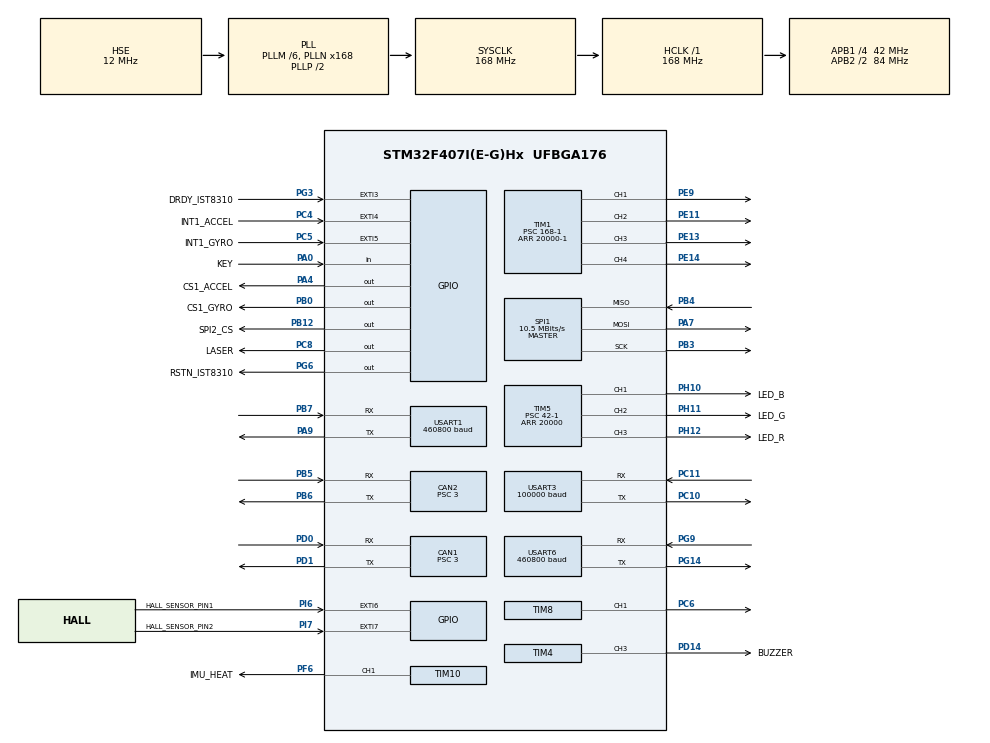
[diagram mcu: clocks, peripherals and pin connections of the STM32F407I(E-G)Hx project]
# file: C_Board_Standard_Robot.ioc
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CAN1.BS1=CAN_BS1_10TQ
CAN1.BS2=CAN_BS2_3TQ
CAN1.CalculateTimeQuantum=71.42857142857143
CAN1.Prescaler=3
CAN2.BS1=CAN_BS1_10TQ
CAN2.BS2=CAN_BS2_3TQ
CAN2.CalculateTimeQuantum=71.42857142857143
CAN2.Prescaler=3
Dma.Request0=SPI1_RX
Dma.Request1=SPI1_TX
Dma.Request2=USART3_RX
Dma.Request3=USART6_TX
Dma.Request4=USART1_TX
Dma.Request5=USART1_RX
Dma.Request6=USART6_RX
Dma.SPI1_RX.0.Direction=DMA_PERIPH_TO_MEMORY
Dma.SPI1_RX.0.FIFOMode=DMA_FIFOMODE_DISABLE
Dma.SPI1_RX.0.Instance=DMA2_Stream2
Dma.SPI1_RX.0.MemDataAlignment=DMA_MDATAALIGN_BYTE
Dma.SPI1_RX.0.MemInc=DMA_MINC_ENABLE
Dma.SPI1_RX.0.Mode=DMA_NORMAL
Dma.SPI1_RX.0.PeriphDataAlignment=DMA_PDATAALIGN_BYTE
Dma.SPI1_RX.0.PeriphInc=DMA_PINC_DISABLE
Dma.SPI1_RX.0.Priority=DMA_PRIORITY_VERY_HIGH
Dma.SPI1_TX.1.Direction=DMA_MEMORY_TO_PERIPH
Dma.SPI1_TX.1.FIFOMode=DMA_FIFOMODE_DISABLE
Dma.SPI1_TX.1.Instance=DMA2_Stream3
Dma.SPI1_TX.1.MemDataAlignment=DMA_MDATAALIGN_BYTE
Dma.SPI1_TX.1.MemInc=DMA_MINC_ENABLE
Dma.SPI1_TX.1.Mode=DMA_NORMAL
Dma.SPI1_TX.1.PeriphDataAlignment=DMA_PDATAALIGN_BYTE
Dma.SPI1_TX.1.PeriphInc=DMA_PINC_DISABLE
Dma.SPI1_TX.1.Priority=DMA_PRIORITY_HIGH
Dma.USART1_RX.5.Direction=DMA_PERIPH_TO_MEMORY
Dma.USART1_RX.5.FIFOMode=DMA_FIFOMODE_DISABLE
Dma.USART1_RX.5.Instance=DMA2_Stream5
Dma.USART1_RX.5.MemDataAlignment=DMA_MDATAALIGN_BYTE
Dma.USART1_RX.5.MemInc=DMA_MINC_ENABLE
Dma.USART1_RX.5.Mode=DMA_CIRCULAR
Dma.USART1_RX.5.PeriphDataAlignment=DMA_PDATAALIGN_BYTE
Dma.USART1_RX.5.PeriphInc=DMA_PINC_DISABLE
Dma.USART1_RX.5.Priority=DMA_PRIORITY_LOW
Dma.USART1_TX.4.Direction=DMA_MEMORY_TO_PERIPH
Dma.USART1_TX.4.FIFOMode=DMA_FIFOMODE_DISABLE
Dma.USART1_TX.4.Instance=DMA2_Stream7
Dma.USART1_TX.4.MemDataAlignment=DMA_MDATAALIGN_BYTE
Dma.USART1_TX.4.MemInc=DMA_MINC_ENABLE
Dma.USART1_TX.4.Mode=DMA_NORMAL
Dma.USART1_TX.4.PeriphDataAlignment=DMA_PDATAALIGN_BYTE
Dma.USART1_TX.4.PeriphInc=DMA_PINC_DISABLE
Dma.USART1_TX.4.Priority=DMA_PRIORITY_MEDIUM
Dma.USART3_RX.2.Direction=DMA_PERIPH_TO_MEMORY
Dma.USART3_RX.2.FIFOMode=DMA_FIFOMODE_DISABLE
Dma.USART3_RX.2.Instance=DMA1_Stream1
Dma.USART3_RX.2.MemDataAlignment=DMA_MDATAALIGN_BYTE
Dma.USART3_RX.2.MemInc=DMA_MINC_ENABLE
Dma.USART3_RX.2.Mode=DMA_CIRCULAR
Dma.USART3_RX.2.PeriphDataAlignment=DMA_PDATAALIGN_BYTE
Dma.USART3_RX.2.PeriphInc=DMA_PINC_DISABLE
Dma.USART3_RX.2.Priority=DMA_PRIORITY_HIGH
Dma.USART6_RX.6.Direction=DMA_PERIPH_TO_MEMORY
Dma.USART6_RX.6.FIFOMode=DMA_FIFOMODE_DISABLE
Dma.USART6_RX.6.Instance=DMA2_Stream1
Dma.USART6_RX.6.MemDataAlignment=DMA_MDATAALIGN_BYTE
Dma.USART6_RX.6.MemInc=DMA_MINC_ENABLE
Dma.USART6_RX.6.Mode=DMA_CIRCULAR
Dma.USART6_RX.6.PeriphDataAlignment=DMA_PDATAALIGN_BYTE
Dma.USART6_RX.6.PeriphInc=DMA_PINC_DISABLE
Dma.USART6_RX.6.Priority=DMA_PRIORITY_LOW
Dma.USART6_TX.3.Direction=DMA_MEMORY_TO_PERIPH
Dma.USART6_TX.3.FIFOMode=DMA_FIFOMODE_DISABLE
Dma.USART6_TX.3.Instance=DMA2_Stream6
Dma.USART6_TX.3.MemDataAlignment=DMA_MDATAALIGN_BYTE
Dma.USART6_TX.3.MemInc=DMA_MINC_ENABLE
Dma.USART6_TX.3.Mode=DMA_NORMAL
Dma.USART6_TX.3.PeriphDataAlignment=DMA_PDATAALIGN_BYTE
Dma.USART6_TX.3.PeriphInc=DMA_PINC_DISABLE
Dma.USART6_TX.3.Priority=DMA_PRIORITY_MEDIUM
FREERTOS.INCLUDE_eTaskGetState=1
FREERTOS.INCLUDE_pcTaskGetTaskName=1
FREERTOS.INCLUDE_uxTaskGetStackHighWaterMark=1
FREERTOS.INCLUDE_vTaskCleanUpResources=1
FREERTOS.INCLUDE_vTaskDelayUntil=1
FREERTOS.INCLUDE_xEventGroupSetBitFromISR=1
FREERTOS.INCLUDE_xQueueGetMutexHolder=1
FREERTOS.INCLUDE_xSemaphoreGetMutexHolder=1
FREERTOS.INCLUDE_xTaskAbortDelay=1
FREERTOS.INCLUDE_xTaskGetCurrentTaskHandle=1
FREERTOS.INCLUDE_xTaskGetHandle=1
FREERTOS.INCLUDE_xTimerPendFunctionCall=1
FREERTOS.Tasks01=GimbalTask,2,1024,StartGimbalTask,Default,NULL,Dynamic,NULL,NULL;INSTask,1,1024,StartINSTask,Default,NULL,Dynamic,NULL,NULL;DetectTask,-1,256,StartDetectTask,Default,NULL,Dynamic,NULL,NULL;ShootTask,0,512,StartShootTask,Default,NULL,Dynamic,NULL,NULL;AimAssist,1,1528,StartAimAssist,Default,NULL,Dynamic,NULL,NULL;ChassisTask,0,256,StartChassisTask,Default,NULL,Dynamic,NULL,NULL
FREERTOS.configTOTAL_HEAP_SIZE=24576
Mcu.Family=STM32F4
Mcu.Name=STM32F407I(E-G)Hx
Mcu.Package=UFBGA176
NVIC.CAN1_RX0_IRQn=true\:6\:0\:true\:false\:true\:true\:true\:true
NVIC.CAN2_RX0_IRQn=true\:6\:0\:true\:false\:true\:true\:true\:true
NVIC.DMA1_Stream1_IRQn=true\:5\:0\:true\:false\:false\:true\:false\:false
NVIC.DMA2_Stream1_IRQn=true\:0\:0\:false\:false\:true\:true\:false\:true
NVIC.DMA2_Stream2_IRQn=true\:5\:0\:true\:false\:false\:true\:false\:true
NVIC.DMA2_Stream3_IRQn=true\:5\:0\:true\:false\:false\:true\:false\:true
NVIC.DMA2_Stream5_IRQn=true\:0\:0\:false\:false\:true\:true\:false\:true
NVIC.DMA2_Stream6_IRQn=true\:5\:0\:true\:false\:true\:true\:false\:true
NVIC.DMA2_Stream7_IRQn=true\:5\:0\:true\:false\:true\:true\:false\:true
NVIC.EXTI3_IRQn=true\:5\:0\:true\:false\:true\:true\:true\:true
NVIC.EXTI4_IRQn=true\:5\:0\:true\:false\:true\:true\:true\:true
NVIC.EXTI9_5_IRQn=true\:5\:0\:true\:false\:true\:true\:true\:true
NVIC.PriorityGroup=NVIC_PRIORITYGROUP_4
NVIC.TIM2_IRQn=true\:0\:0\:false\:false\:true\:false\:false\:true
NVIC.TimeBase=TIM2_IRQn
NVIC.TimeBaseIP=TIM2
NVIC.USART1_IRQn=true\:0\:0\:false\:false\:true\:false\:true\:true
NVIC.USART3_IRQn=true\:4\:0\:true\:false\:true\:false\:true\:true
NVIC.USART6_IRQn=true\:5\:0\:true\:false\:true\:true\:true\:true
PA0-WKUP.GPIO_Label=KEY
PA0-WKUP.GPIO_PuPd=GPIO_PULLUP
PA0-WKUP.Signal=GPIO_Input
PA13.Mode=Serial_Wire
PA13.Signal=SYS_JTMS-SWDIO
PA14.Mode=Serial_Wire
PA14.Signal=SYS_JTCK-SWCLK
PA4.GPIO_Label=CS1_ACCEL
PA4.GPIO_PuPd=GPIO_PULLUP
PA4.GPIO_Speed=GPIO_SPEED_FREQ_HIGH
PA4.PinState=GPIO_PIN_SET
PA4.Signal=GPIO_Output
PA7.GPIO_PuPd=GPIO_PULLUP
PA7.Mode=Full_Duplex_Master
PA7.Signal=SPI1_MOSI
PA8.Signal=I2C3_SCL
PA9.Mode=Asynchronous
PA9.Signal=USART1_TX
PB0.GPIO_Label=CS1_GYRO
PB0.GPIO_PuPd=GPIO_PULLUP
PB0.GPIO_Speed=GPIO_SPEED_FREQ_HIGH
PB0.PinState=GPIO_PIN_SET
PB0.Signal=GPIO_Output
PB12.GPIO_Label=SPI2_CS
PB12.GPIO_PuPd=GPIO_PULLUP
PB12.GPIO_Speed=GPIO_SPEED_FREQ_MEDIUM
PB12.PinState=GPIO_PIN_SET
PB12.Signal=GPIO_Output
PB13.GPIO_PuPd=GPIO_PULLUP
PB13.Signal=SPI2_SCK
PB14.GPIO_PuPd=GPIO_PULLUP
PB14.Signal=SPI2_MISO
PB15.GPIO_PuPd=GPIO_PULLUP
PB15.Signal=SPI2_MOSI
PB3.GPIO_PuPd=GPIO_PULLUP
PB3.Mode=Full_Duplex_Master
PB3.Signal=SPI1_SCK
PB4.GPIO_PuPd=GPIO_PULLUP
PB4.Mode=Full_Duplex_Master
PB4.Signal=SPI1_MISO
PB5.Mode=Slave
PB5.Signal=CAN2_RX
PB6.Mode=Slave
PB6.Signal=CAN2_TX
PB7.Mode=Asynchronous
PB7.Signal=USART1_RX
PB8.Signal=I2C1_SCL
PB9.Signal=I2C1_SDA
PC10.Mode=Asynchronous
PC10.Signal=USART3_TX
PC11.Mode=Asynchronous
PC11.Signal=USART3_RX
PC4.GPIO_Label=INT1_ACCEL
PC4.GPIO_ModeDefaultEXTI=GPIO_MODE_IT_FALLING
PC4.GPIO_PuPd=GPIO_PULLUP
PC4.Signal=GPXTI4
PC5.GPIO_Label=INT1_GYRO
PC5.GPIO_ModeDefaultEXTI=GPIO_MODE_IT_FALLING
PC5.GPIO_PuPd=GPIO_PULLUP
PC5.Signal=GPXTI5
PC6.GPIO_PuPd=GPIO_PULLUP
PC6.GPIO_Speed=GPIO_SPEED_FREQ_HIGH
PC6.Signal=S_TIM8_CH1
PC8.GPIO_Label=LASER
PC8.Signal=GPIO_Output
PC9.Signal=I2C3_SDA
PD0.Mode=Master
PD0.Signal=CAN1_RX
PD1.Mode=Master
PD1.Signal=CAN1_TX
PD14.GPIO_Label=BUZZER
PD14.GPIO_PuPd=GPIO_PULLUP
PD14.GPIO_Speed=GPIO_SPEED_FREQ_VERY_HIGH
PD14.Signal=S_TIM4_CH3
PE11.GPIO_PuPd=GPIO_PULLUP
PE11.GPIO_Speed=GPIO_SPEED_FREQ_HIGH
PE11.Signal=S_TIM1_CH2
PE13.GPIO_PuPd=GPIO_PULLUP
PE13.GPIO_Speed=GPIO_SPEED_FREQ_HIGH
PE13.Signal=S_TIM1_CH3
PE14.GPIO_PuPd=GPIO_PULLUP
PE14.GPIO_Speed=GPIO_SPEED_FREQ_HIGH
PE14.Signal=S_TIM1_CH4
PE9.GPIO_PuPd=GPIO_PULLUP
PE9.GPIO_Speed=GPIO_SPEED_FREQ_HIGH
PE9.Signal=S_TIM1_CH1
PF0.Signal=I2C2_SDA
PF1.Signal=I2C2_SCL
PF10.GPIO_Label=ADC_BAT
PF10.Signal=ADC3_IN8
PF6.GPIO_Label=IMU_HEAT
PF6.GPIO_PuPd=GPIO_PULLUP
PF6.GPIO_Speed=GPIO_SPEED_FREQ_HIGH
PF6.Signal=S_TIM10_CH1
PG14.Mode=Asynchronous
PG14.Signal=USART6_TX
PG3.GPIO_Label=DRDY_IST8310
PG3.GPIO_ModeDefaultEXTI=GPIO_MODE_IT_FALLING
PG3.GPIO_PuPd=GPIO_PULLUP
PG3.Signal=GPXTI3
PG6.GPIO_Label=RSTN_IST8310
PG6.GPIO_PuPd=GPIO_PULLUP
PG6.GPIO_Speed=GPIO_SPEED_FREQ_MEDIUM
PG6.PinState=GPIO_PIN_SET
PG6.Signal=GPIO_Output
PG9.Mode=Asynchronous
PG9.Signal=USART6_RX
PH0-OSC_IN.Mode=HSE-External-Oscillator
PH0-OSC_IN.Signal=RCC_OSC_IN
PH1-OSC_OUT.Mode=HSE-External-Oscillator
PH1-OSC_OUT.Signal=RCC_OSC_OUT
PH10.GPIO_Label=LED_B
PH10.GPIO_PuPd=GPIO_PULLUP
PH10.GPIO_Speed=GPIO_SPEED_FREQ_HIGH
PH10.Signal=S_TIM5_CH1
PH11.GPIO_Label=LED_G
PH11.GPIO_PuPd=GPIO_PULLUP
PH11.GPIO_Speed=GPIO_SPEED_FREQ_HIGH
PH11.Signal=S_TIM5_CH2
PH12.GPIO_Label=LED_R
PH12.GPIO_PuPd=GPIO_PULLUP
PH12.GPIO_Speed=GPIO_SPEED_FREQ_HIGH
PH12.Signal=S_TIM5_CH3
PI6.GPIO_Label=HALL_SENSOR_PIN1
PI6.Signal=GPXTI6
PI7.GPIO_Label=HALL_SENSOR_PIN2
PI7.Signal=GPXTI7
ProjectManager.HeapSize=0x2000
ProjectManager.StackSize=0x2000
ProjectManager.TargetToolchain=MDK-ARM V5.27
RCC.48MHZClocksFreq_Value=48000000
RCC.AHBFreq_Value=168000000
RCC.APB1CLKDivider=RCC_HCLK_DIV4
RCC.APB1Freq_Value=42000000
RCC.APB1TimFreq_Value=84000000
RCC.APB2CLKDivider=RCC_HCLK_DIV2
RCC.APB2Freq_Value=84000000
RCC.APB2TimFreq_Value=168000000
RCC.CortexFreq_Value=168000000
RCC.HCLKFreq_Value=168000000
RCC.HSE_VALUE=12000000
RCC.HSI_VALUE=16000000
RCC.LSE_VALUE=32768
RCC.PLLM=6
RCC.PLLN=168
RCC.PLLQ=7
RCC.PLLSourceVirtual=RCC_PLLSOURCE_HSE
RCC.RCC_RTC_Clock_SourceVirtual=RCC_RTCCLKSOURCE_HSE_DIV30
RCC.RCC_RTC_Clock_Source_FROM_HSE=RCC_RTCCLKSOURCE_HSE_DIV30
RCC.SYSCLKFreq_VALUE=168000000
RCC.SYSCLKSource=RCC_SYSCLKSOURCE_PLLCLK
RCC.VCOOutputFreq_Value=336000000
SH.S_TIM10_CH1.0=TIM10_CH1,PWM Generation1 CH1
SH.S_TIM1_CH1.0=TIM1_CH1,PWM Generation1 CH1
SH.S_TIM1_CH2.0=TIM1_CH2,PWM Generation2 CH2
SH.S_TIM1_CH3.0=TIM1_CH3,PWM Generation3 CH3
SH.S_TIM1_CH4.0=TIM1_CH4,PWM Generation4 CH4
SH.S_TIM4_CH3.0=TIM4_CH3,PWM Generation3 CH3
SH.S_TIM5_CH1.0=TIM5_CH1,PWM Generation1 CH1
SH.S_TIM5_CH2.0=TIM5_CH2,PWM Generation2 CH2
SH.S_TIM5_CH3.0=TIM5_CH3,PWM Generation3 CH3
SH.S_TIM8_CH1.0=TIM8_CH1,PWM Generation1 CH1
SPI1.BaudRatePrescaler=SPI_BAUDRATEPRESCALER_8
SPI1.CLKPhase=SPI_PHASE_2EDGE
SPI1.CLKPolarity=SPI_POLARITY_HIGH
SPI1.CalculateBaudRate=10.5 MBits/s
SPI1.Direction=SPI_DIRECTION_2LINES
SPI1.Mode=SPI_MODE_MASTER
SPI1.VirtualType=VM_MASTER
TIM1.Channel-PWM\ Generation1\ CH1=TIM_CHANNEL_1
TIM1.Channel-PWM\ Generation2\ CH2=TIM_CHANNEL_2
TIM1.Channel-PWM\ Generation3\ CH3=TIM_CHANNEL_3
TIM1.Channel-PWM\ Generation4\ CH4=TIM_CHANNEL_4
TIM1.Period=20000-1
TIM1.Prescaler=168-1
TIM1.Pulse-PWM\ Generation1\ CH1=1000
TIM1.Pulse-PWM\ Generation2\ CH2=1000
TIM1.Pulse-PWM\ Generation3\ CH3=1000
TIM1.Pulse-PWM\ Generation4\ CH4=1000
TIM10.Channel=TIM_CHANNEL_1
TIM10.Period=2000-1
TIM10.Prescaler=84-1
TIM3.Period=8399
TIM4.Channel-PWM\ Generation3\ CH3=TIM_CHANNEL_3
TIM4.Period=20000-1
TIM4.Prescaler=42-1
TIM5.Channel-PWM\ Generation1\ CH1=TIM_CHANNEL_1
TIM5.Channel-PWM\ Generation2\ CH2=TIM_CHANNEL_2
TIM5.Channel-PWM\ Generation3\ CH3=TIM_CHANNEL_3
TIM5.Period=20000
TIM5.Prescaler=42-1
TIM8.Channel-PWM\ Generation1\ CH1=TIM_CHANNEL_1
TIM8.Period=20000-1
TIM8.Prescaler=168-1
TIM8.Pulse-PWM\ Generation1\ CH1=1000
USART1.BaudRate=460800
USART1.VirtualMode=VM_ASYNC
USART3.BaudRate=100000
USART3.Parity=PARITY_EVEN
USART3.VirtualMode=VM_ASYNC
USART6.BaudRate=460800
USART6.VirtualMode=VM_ASYNC
VP_FREERTOS_VS_CMSIS_V1.Mode=CMSIS_V1
VP_SYS_VS_tim2.Mode=TIM2
VP_TIM10_VS_ClockSourceINT.Mode=Enable_Timer
VP_TIM1_VS_ClockSourceINT.Mode=Internal
VP_TIM3_VS_ClockSourceINT.Mode=Internal
VP_TIM4_VS_ClockSourceINT.Mode=Internal
VP_TIM5_VS_ClockSourceINT.Mode=Internal
VP_TIM8_VS_ClockSourceINT.Mode=Internal
board=custom

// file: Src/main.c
/* USER CODE BEGIN Header */
/**
 ******************************************************************************
 * @file           : main.c
 * @brief          : Main program body
 ******************************************************************************
 * @attention
 *
 * <h2><center>&copy; Copyright (c) 2021 STMicroelectronics.
 * All rights reserved.</center></h2>
 *
 * This software component is licensed by ST under Ultimate Liberty license
 * SLA0044, the "License"; You may not use this file except in compliance with
 * the License. You may obtain a copy of the License at:
 *                             www.st.com/SLA0044
 *
 ******************************************************************************
 */
/* USER CODE END Header */
#include "main.h"
#include "cmsis_os.h"
#include "can.h"
#include "dma.h"
#include "spi.h"
#include "tim.h"
#include "usart.h"
#include "gpio.h"

/* USER CODE BEGIN Includes */
#include "includes.h"
/* USER CODE END Includes */

void SystemClock_Config(void);
void MX_FREERTOS_Init(void);

int main(void)
{

  /* MCU Configuration--------------------------------------------------------*/

  /* Reset of all peripherals, Initializes the Flash interface and the Systick. */
  HAL_Init();

  /* Configure the system clock */
  SystemClock_Config();

  /* Initialize all configured peripherals */
  MX_GPIO_Init();
  MX_DMA_Init();
  MX_CAN1_Init();
  MX_CAN2_Init();
  MX_SPI1_Init();
  MX_TIM4_Init();
  MX_TIM5_Init();
  MX_USART3_UART_Init();
  MX_TIM8_Init();
  MX_TIM1_Init();
  MX_TIM3_Init();
  MX_TIM10_Init();
  MX_USART1_UART_Init();
  MX_USART6_UART_Init();
  /* USER CODE BEGIN 2 */
  DWT_Init(168);
  // HAL_IWDG_Refresh(&hiwdg);
  CAN_Device_Init();
  // Serial_Debug_Init(&huart1);
  HAL_GPIO_TogglePin(LASER_GPIO_Port, LASER_Pin);
  // init_vrefint_reciprocal();
  Remote_Control_Init(&huart3);
  while (BMI088_init(&hspi1, 0) != BMI088_NO_ERROR)
    ;
  /* USER CODE END 2 */

  /* Call init function for freertos objects (in freertos.c) */
  MX_FREERTOS_Init();
  /* Start scheduler */
  osKernelStart();

  /* We should never get here as control is now taken by the scheduler */
  /* Infinite loop */
  while (1)
  {

  }
}

void SystemClock_Config(void)
{
  RCC_OscInitTypeDef RCC_OscInitStruct = {0};
  RCC_ClkInitTypeDef RCC_ClkInitStruct = {0};

  /** Configure the main internal regulator output voltage
   */
  __HAL_RCC_PWR_CLK_ENABLE();
  __HAL_PWR_VOLTAGESCALING_CONFIG(PWR_REGULATOR_VOLTAGE_SCALE1);
  /** Initializes the RCC Oscillators according to the specified parameters
   * in the RCC_OscInitTypeDef structure.
   */
  RCC_OscInitStruct.OscillatorType = RCC_OSCILLATORTYPE_HSE;
  RCC_OscInitStruct.HSEState = RCC_HSE_ON;
  RCC_OscInitStruct.PLL.PLLState = RCC_PLL_ON;
  RCC_OscInitStruct.PLL.PLLSource = RCC_PLLSOURCE_HSE;
  RCC_OscInitStruct.PLL.PLLM = 6;
  RCC_OscInitStruct.PLL.PLLN = 168;
  RCC_OscInitStruct.PLL.PLLP = RCC_PLLP_DIV2;
  RCC_OscInitStruct.PLL.PLLQ = 7;
  if (HAL_RCC_OscConfig(&RCC_OscInitStruct) != HAL_OK)
  {
    Error_Handler();
  }
  /** Initializes the CPU, AHB and APB buses clocks
   */
  RCC_ClkInitStruct.ClockType = RCC_CLOCKTYPE_HCLK | RCC_CLOCKTYPE_SYSCLK | RCC_CLOCKTYPE_PCLK1 | RCC_CLOCKTYPE_PCLK2;
  RCC_ClkInitStruct.SYSCLKSource = RCC_SYSCLKSOURCE_PLLCLK;
  RCC_ClkInitStruct.AHBCLKDivider = RCC_SYSCLK_DIV1;
  RCC_ClkInitStruct.APB1CLKDivider = RCC_HCLK_DIV4;
  RCC_ClkInitStruct.APB2CLKDivider = RCC_HCLK_DIV2;

  if (HAL_RCC_ClockConfig(&RCC_ClkInitStruct, FLASH_LATENCY_5) != HAL_OK)
  {
    Error_Handler();
  }
}

void HAL_TIM_PeriodElapsedCallback(TIM_HandleTypeDef *htim)
{
  if (htim->Instance == TIM2)
  {
    HAL_IncTick();
  }
}

void Error_Handler(void)
{
}

/************************ (C) COPYRIGHT STMicroelectronics *****END OF FILE****/

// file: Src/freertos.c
/* USER CODE BEGIN Header */
/**
 ******************************************************************************
 * File Name          : freertos.c
 * Description        : Code for freertos applications
 ******************************************************************************
 * @attention
 *
 * <h2><center>&copy; Copyright (c) 2021 STMicroelectronics.
 * All rights reserved.</center></h2>
 *
 * This software component is licensed by ST under Ultimate Liberty license
 * SLA0044, the "License"; You may not use this file except in compliance with
 * the License. You may obtain a copy of the License at:
 *                             www.st.com/SLA0044
 *
 ******************************************************************************
 */
/* USER CODE END Header */

#include "FreeRTOS.h"
#include "task.h"
#include "main.h"
#include "cmsis_os.h"

/* USER CODE BEGIN Includes */
#include "includes.h"
/* USER CODE END Includes */

osThreadId GimbalTaskHandle;
osThreadId INSTaskHandle;
osThreadId DetectTaskHandle;
osThreadId ShootTaskHandle;
osThreadId AimAssistHandle;
osThreadId ChassisTaskHandle;

void StartGimbalTask(void const *argument);
void StartINSTask(void const *argument);
void StartDetectTask(void const *argument);
void StartShootTask(void const *argument);
void StartAimAssist(void const *argument);
void StartChassisTask(void const *argument);

void MX_FREERTOS_Init(void); /* (MISRA C 2004 rule 8.1) */

/* GetIdleTaskMemory prototype (linked to static allocation support) */
void vApplicationGetIdleTaskMemory(StaticTask_t **ppxIdleTaskTCBBuffer, StackType_t **ppxIdleTaskStackBuffer, uint32_t *pulIdleTaskStackSize);

/* GetTimerTaskMemory prototype (linked to static allocation support) */
void vApplicationGetTimerTaskMemory(StaticTask_t **ppxTimerTaskTCBBuffer, StackType_t **ppxTimerTaskStackBuffer, uint32_t *pulTimerTaskStackSize);

/* USER CODE BEGIN GET_IDLE_TASK_MEMORY */
static StaticTask_t xIdleTaskTCBBuffer;
static StackType_t xIdleStack[configMINIMAL_STACK_SIZE];

void vApplicationGetIdleTaskMemory(StaticTask_t **ppxIdleTaskTCBBuffer, StackType_t **ppxIdleTaskStackBuffer, uint32_t *pulIdleTaskStackSize)
{
  *ppxIdleTaskTCBBuffer = &xIdleTaskTCBBuffer;
  *ppxIdleTaskStackBuffer = &xIdleStack[0];
  *pulIdleTaskStackSize = configMINIMAL_STACK_SIZE;
  /* place for user code */
}
/* USER CODE END GET_IDLE_TASK_MEMORY */

/* USER CODE BEGIN GET_TIMER_TASK_MEMORY */
static StaticTask_t xTimerTaskTCBBuffer;
static StackType_t xTimerStack[configTIMER_TASK_STACK_DEPTH];

void vApplicationGetTimerTaskMemory(StaticTask_t **ppxTimerTaskTCBBuffer, StackType_t **ppxTimerTaskStackBuffer, uint32_t *pulTimerTaskStackSize)
{
  *ppxTimerTaskTCBBuffer = &xTimerTaskTCBBuffer;
  *ppxTimerTaskStackBuffer = &xTimerStack[0];
  *pulTimerTaskStackSize = configTIMER_TASK_STACK_DEPTH;
  /* place for user code */
}
/* USER CODE END GET_TIMER_TASK_MEMORY */

void MX_FREERTOS_Init(void)
{

  /* Create the thread(s) */
  /* definition and creation of GimbalTask */
  osThreadDef(GimbalTask, StartGimbalTask, osPriorityHigh, 0, 1024);
  GimbalTaskHandle = osThreadCreate(osThread(GimbalTask), NULL);

  /* definition and creation of INSTask */
  osThreadDef(INSTask, StartINSTask, osPriorityAboveNormal, 0, 1024);
  INSTaskHandle = osThreadCreate(osThread(INSTask), NULL);

  /* definition and creation of DetectTask */
  osThreadDef(DetectTask, StartDetectTask, osPriorityBelowNormal, 0, 256);
  DetectTaskHandle = osThreadCreate(osThread(DetectTask), NULL);

  /* definition and creation of ShootTask */
  osThreadDef(ShootTask, StartShootTask, osPriorityNormal, 0, 512);
  ShootTaskHandle = osThreadCreate(osThread(ShootTask), NULL);

  /* definition and creation of AimAssist */
  osThreadDef(AimAssist, StartAimAssist, osPriorityAboveNormal, 0, 1528);
  AimAssistHandle = osThreadCreate(osThread(AimAssist), NULL);

  /* definition and creation of ChassisTask */
  osThreadDef(ChassisTask, StartChassisTask, osPriorityNormal, 0, 256);
  ChassisTaskHandle = osThreadCreate(osThread(ChassisTask), NULL);

}

void StartGimbalTask(void const *argument)
{
  /* USER CODE BEGIN StartGimbalTask */
  static uint32_t count = 0;
  Gimbal_Init();
  osDelay(100);
  /* Infinite loop */
  for (;;)
  {
    if (RC_Update)
    {
      if (resetCount < 2000 && !((remote_control.key_code & Key_R) && (remote_control.key_code & Key_E)))
      {
        Send_RC_Data(&hcan1, RC_Data_Buffer);
        // Send_RC_Data(&hcan2, RC_Data_Buffer);
      }
      RC_Update = 0;
    }
    Gimbal_Control();

    // if (count % 10 == 0)
    //   Send_Gimbal_Info(&hcan1, AimAssist.miniPC_Online);
    count++;
    osDelay(GIMBAL_TASK_PERIOD);
  }
  /* USER CODE END StartGimbalTask */
}

void StartINSTask(void const *argument)
{
  /* USER CODE BEGIN StartINSTask */
  INS_Init();
  /* Infinite loop */
  for (;;)
  {
    if ((remote_control.key_code & Key_R) && (remote_control.key_code & Key_E))
    {
      resetCount++;
      if (resetCount * DETECT_TASK_PERIOD > 1500)
      {
        // Send_Reset_Command(&hcan1);
        __set_FAULTMASK(1);
        HAL_NVIC_SystemReset();
      }
    }
    else
      resetCount = 0;
    INS_Task();
    osDelay(INS_TASK_PERIOD);
  }
  /* USER CODE END StartINSTask */
}

void StartDetectTask(void const *argument)
{
  /* USER CODE BEGIN StartDetectTask */
  Detect_Task_Init();
  /* Infinite loop */
  for (;;)
  {
    // HAL_IWDG_Refresh(&hiwdg);

    Detect_Task();

    osDelay(DETECT_TASK_PERIOD);
  }
  /* USER CODE END StartDetectTask */
}

void StartShootTask(void const *argument)
{
  /* USER CODE BEGIN StartShootTask */
  Shoot_Init();
  osDelay(100);
  /* Infinite loop */
  for (;;)
  {
    Shoot_Control();
    osDelay(SHOOT_TASK_PERIOD);
  }
  /* USER CODE END StartShootTask */
}

void StartAimAssist(void const *argument)
{
  static uint32_t count = 0;
  /* USER CODE BEGIN StartAimAssist */
  AimAssist_Init(&huart6);
  /* Infinite loop */
  for (;;)
  {
    AimAssist_Task();
    osDelay(AUTOAIM_TASK_PERIOD);

    if (count % 5 == 0)
      Send_Gimbal_Info(&hcan1, Gimbal.aim_status);
    count++;
  }
  /* USER CODE END StartAimAssist */
}

void StartChassisTask(void const *argument)
{
  for (;;)
  {
    osDelay(1);
  }
}

/************************ (C) COPYRIGHT STMicroelectronics *****END OF FILE****/
